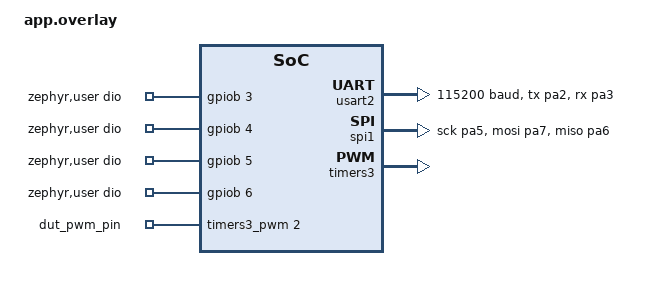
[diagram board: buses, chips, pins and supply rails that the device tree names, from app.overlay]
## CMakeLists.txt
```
cmake_minimum_required(VERSION 3.20.0)
find_package(Zephyr REQUIRED HINTS $ENV{ZEPHYR_BASE})
project(DUT)

target_sources(app PRIVATE src/main.c)
```

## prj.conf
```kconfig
CONFIG_UART_INTERRUPT_DRIVEN=y
CONFIG_SPI=y
CONFIG_GPIO=y
CONFIG_PWM=y
CONFIG_PWM_STM32=y
CONFIG_PINCTRL=y
```

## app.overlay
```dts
/ {
    aliases {
        dut-uart = &usart2;
        dut-pwm  = &dut_pwm_pin;
        dut-spi = &spi1;
    };

    zephyr,user {
        dio-gpios =
            <&gpiob 3 GPIO_ACTIVE_HIGH>,
            <&gpiob 4 GPIO_ACTIVE_HIGH>,
            <&gpiob 5 GPIO_ACTIVE_HIGH>,
            <&gpiob 6 GPIO_ACTIVE_HIGH>;
    };

    pwm_out {
        compatible = "pwm-leds";
        dut_pwm_pin: dut_pwm_pin {
            pwms = <&timers3_pwm 2 1000000 PWM_POLARITY_NORMAL>;
        };
    };
};

&usart2 {
    status = "okay";
    current-speed = <115200>;
    pinctrl-0 = <&usart2_tx_pa2 &usart2_rx_pa3>;
    pinctrl-names = "default";
};

&spi1 {
    status = "okay";
    pinctrl-0 = <&spi1_sck_pa5 &spi1_mosi_pa7 &spi1_miso_pa6>;
    pinctrl-names = "default";
};

&timers3 {
    status = "okay";
    st,prescaler = <99>;
    timers3_pwm: pwm {
        status = "okay";
        pinctrl-0 = <&tim3_ch3_pb0>;
        pinctrl-names = "default";
    };
};
```

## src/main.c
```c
#include <zephyr/kernel.h>
#include <zephyr/drivers/uart.h>
#include <zephyr/drivers/gpio.h>
#include <zephyr/drivers/spi.h>
#include <zephyr/drivers/pwm.h>

/* UART for loopback from testbench passthrough */
static const struct device *uart = DEVICE_DT_GET(DT_ALIAS(dut_uart));

/* DIO pins: 0,2 are inputs driven by testbench; 1,3 are outputs that mirror them */
#define DIO_COUNT 4
static const struct gpio_dt_spec dios[DIO_COUNT] = {
    GPIO_DT_SPEC_GET_BY_IDX(DT_PATH(zephyr_user), dio_gpios, 0),
    GPIO_DT_SPEC_GET_BY_IDX(DT_PATH(zephyr_user), dio_gpios, 1),
    GPIO_DT_SPEC_GET_BY_IDX(DT_PATH(zephyr_user), dio_gpios, 2),
    GPIO_DT_SPEC_GET_BY_IDX(DT_PATH(zephyr_user), dio_gpios, 3),
};

/* PWM output: 1 kHz 50%, testbench ADC sees ~1.65 V */
static const struct pwm_dt_spec pwm_out = PWM_DT_SPEC_GET(DT_ALIAS(dut_pwm));

/* SPI slave device */
static const struct device *spi_slave = DEVICE_DT_GET(DT_ALIAS(dut_spi));

/* UART loopback: echo every received byte back to the sender */
static void uart_cb(const struct device *dev, void *user_data)
{
    uint8_t c;
    if (!uart_irq_update(dev) || !uart_irq_rx_ready(dev))
        return;
    while (uart_fifo_read(dev, &c, 1) == 1) {
        uart_poll_out(dev, c);
    }
}

/* GPIO loopback thread: DIO0→DIO1, DIO2→DIO3 */
static void gpio_loopback_thread(void *a, void *b, void *c)
{
    gpio_pin_configure_dt(&dios[0], GPIO_INPUT);
    gpio_pin_configure_dt(&dios[1], GPIO_OUTPUT_INACTIVE);
    gpio_pin_configure_dt(&dios[2], GPIO_INPUT);
    gpio_pin_configure_dt(&dios[3], GPIO_OUTPUT_INACTIVE);

    while (1) {
        gpio_pin_set_dt(&dios[1], gpio_pin_get_dt(&dios[0]));
        gpio_pin_set_dt(&dios[3], gpio_pin_get_dt(&dios[2]));
        k_sleep(K_MSEC(1));
    }
}

/*
 * SPI slave loopback thread.
 * Waits for the testbench master to clock in bytes, echoes them back
 * on MISO during the *next* transfer (classic slave echo pattern).
 *
 * NOTE: Zephyr's STM32 SPI driver supports slave mode — enable it
 * in your DUT overlay with  slave;  inside the spi node.
 */
#define SPI_SLAVE_BUF_LEN 16

static uint8_t spi_rx_buf[SPI_SLAVE_BUF_LEN];
static uint8_t spi_tx_buf[SPI_SLAVE_BUF_LEN];

static const struct spi_config spi_slave_cfg = {
    .frequency = 1000000,
    .operation = SPI_WORD_SET(8)      |
                 SPI_TRANSFER_MSB     |
                 SPI_OP_MODE_SLAVE,
};

static void spi_slave_thread(void *a, void *b, void *c)
{
    if (!device_is_ready(spi_slave)) {
        return;
    }

    struct spi_buf rx_buf = { .buf = spi_rx_buf, .len = SPI_SLAVE_BUF_LEN };
    struct spi_buf tx_buf = { .buf = spi_tx_buf, .len = SPI_SLAVE_BUF_LEN };
    struct spi_buf_set rx_set = { .buffers = &rx_buf, .count = 1 };
    struct spi_buf_set tx_set = { .buffers = &tx_buf, .count = 1 };

    while (1) {
        /* Pre-load TX with whatever we last received (echo) */
        memcpy(spi_tx_buf, spi_rx_buf, SPI_SLAVE_BUF_LEN);

        /*
         * spi_transceive() blocks until CS is asserted and
         * SPI_SLAVE_BUF_LEN bytes have been clocked in/out.
         */
        int ret = spi_transceive(spi_slave, &spi_slave_cfg, &tx_set, &rx_set);
        if (ret < 0) {
            /* transceive error — just retry */
            k_sleep(K_MSEC(1));
        }
    }
}

K_THREAD_STACK_DEFINE(gpio_stack,      512);
K_THREAD_STACK_DEFINE(spi_slave_stack, 1024);

static struct k_thread gpio_tid;
static struct k_thread spi_slave_tid;

int main(void)
{
    /* UART loopback */
    uart_irq_callback_set(uart, uart_cb);
    uart_irq_rx_enable(uart);

    /* PWM output 1 kHz 50% */
    pwm_set_dt(&pwm_out, 1000000, 500000);

    /* GPIO loopback thread */
    k_thread_create(&gpio_tid, gpio_stack, K_THREAD_STACK_SIZEOF(gpio_stack),
                    gpio_loopback_thread, NULL, NULL, NULL,
                    4, 0, K_NO_WAIT);

    /* SPI slave loopback thread */
    k_thread_create(&spi_slave_tid, spi_slave_stack,
                    K_THREAD_STACK_SIZEOF(spi_slave_stack),
                    spi_slave_thread, NULL, NULL, NULL,
                    4, 0, K_NO_WAIT);

    return 0;
}
```
